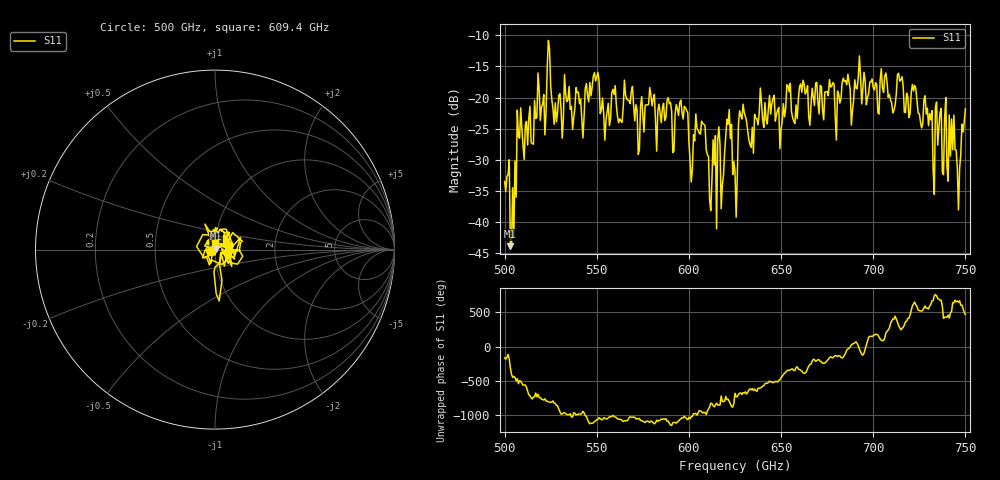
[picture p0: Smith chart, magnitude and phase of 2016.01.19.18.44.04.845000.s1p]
!Created with skrf (http://scikit-rf.org).
# GHz S RI R 50.0
!freq ReS11 ImS11
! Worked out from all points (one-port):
!   401 points, 500 GHz to 750 GHz, reference 50 ohm
!   lowest |S11| = -43.8 dB at 503.1 GHz (marker M1), VSWR 1.01, Z = 50.4 + j0.491 ohm
!   |S11| at or under -10 dB: start of sweep to end of sweep
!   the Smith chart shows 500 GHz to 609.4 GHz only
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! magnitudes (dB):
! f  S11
! 500 GHz  -33.5
! 503.1 GHz  -43.8
! 505 GHz  -42.4
! 508.1 GHz  -26.5
! 515.6 GHz  -27.5
! 524.4 GHz  -12.2
! 526.9 GHz  -24.3
! 531.2 GHz  -26.5
! 549.4 GHz  -17.3
! 553.1 GHz  -20.1
! 562.5 GHz  -23.4
! 593.8 GHz  -21.8
! 601.2 GHz  -33.5
! 607.5 GHz  -24.2
! 611.2 GHz  -36.6
! 618.8 GHz  -32.4
! 621.9 GHz  -21.9
! 625 GHz  -31.9
! 628.8 GHz  -23.4
! 633.8 GHz  -28.0
! 638.1 GHz  -22.5
! 656.2 GHz  -23.2
! 687.5 GHz  -18.6
! 714.4 GHz  -17.4
! 718.8 GHz  -19.8
! 742.5 GHz  -23.5
! 746.2 GHz  -38.0
! 750 GHz  -21.8
